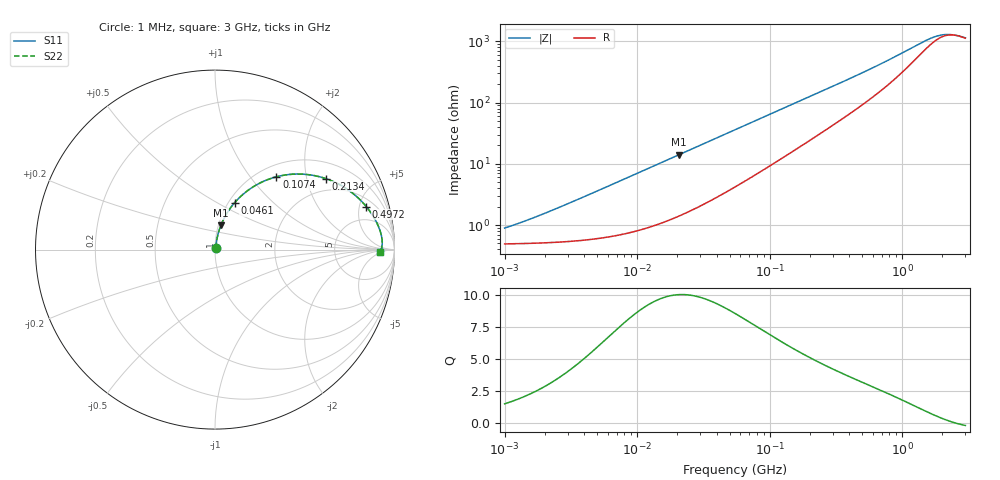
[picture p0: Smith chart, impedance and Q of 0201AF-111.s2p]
!AWR Design Environment (3650) Fri Oct 20 16:03:10 2017
!freq-unit  param-type  data-format  keyword  impedance-ohms
# MHz  S  MA  R  50
!Freq  MagS11  AngS11  MagS21  AngS21  MagS12  AngS12  MagS22  AngS22
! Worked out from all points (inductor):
!   806 points, 1 MHz to 3 GHz, reference 50 ohm
!   read as one part in series: L = 115 nH near 2.13 MHz
!   highest Q = 9.99 at 20.8 MHz (marker M1), where L = 108 nH
!   self-resonance near 2.584 GHz
!   S11 on the Smith chart (normalised r, x): 1 MHz: 1.01, +0.01; 46.1 MHz: 1.07, +0.61; 107.4 MHz: 1.20, +1.36; 213.4 MHz: 1.52, +2.61; 497.2 MHz: 2.82, +5.83; 3 GHz: 24, -4
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1  0.008895 56.2  0.9951 -0.4  0.9951 -0.4  0.008895 56.2
1.71141  0.01348 67.4  0.9949 -0.7  0.9949 -0.7  0.01348 67.4
3.831647  0.02785 76.9  0.994 -1.6  0.994 -1.6  0.02785 76.9
7.922199  0.05541 79.5  0.9914 -3.2  0.9914 -3.2  0.05541 79.5
14.53616  0.09867 78.4  0.985 -5.6  0.985 -5.6  0.09867 78.4
20.79788  0.1382 76.4  0.9767 -7.9  0.9767 -7.9  0.1382 76.4
31.90348  0.2047 72.4  0.9581 -11.7  0.9581 -11.7  0.2047 72.4
46.10297  0.2827 67.3  0.9284 -16.3  0.9284 -16.3  0.2827 67.3
55.14595  0.3282 64.3  0.9071 -19.0  0.9071 -19.0  0.3282 64.3
76.58064  0.423 57.7  0.8528 -24.8  0.8528 -24.8  0.423 57.7
107.4102  0.5307 49.8  0.7728 -31.7  0.7728 -31.7  0.5307 49.8
149.1595  0.6341 41.6  0.6735 -38.7  0.6735 -38.7  0.6341 41.6
209.2077  0.7278 33.2  0.558 -45.5  0.558 -45.5  0.7278 33.2
213.4128  0.7327 32.7  0.5511 -45.9  0.5511 -45.9  0.7327 32.7
324.1292  0.8189 23.5  0.4104 -52.7  0.4104 -52.7  0.8189 23.5
497.207  0.8762 15.9  0.287 -56.7  0.287 -56.7  0.8762 15.9
793.6734  0.9126 9.6  0.1828 -56.7  0.1828 -56.7  0.9126 9.6
1485.554  0.9324 3.7  0.09157 -40.6  0.09157 -40.6  0.9324 3.7
1830.784  0.9325 2.1  0.07629 -26.8  0.07629 -26.8  0.9325 2.1
2042.548  0.9313 1.4  0.0725 -18.0  0.0725 -18.0  0.9313 1.4
2278.806  0.9292 0.7  0.07175 -9.1  0.07175 -9.1  0.9292 0.7
3000  0.9204 -0.7  0.08057 8.3  0.08057 8.3  0.9204 -0.7
